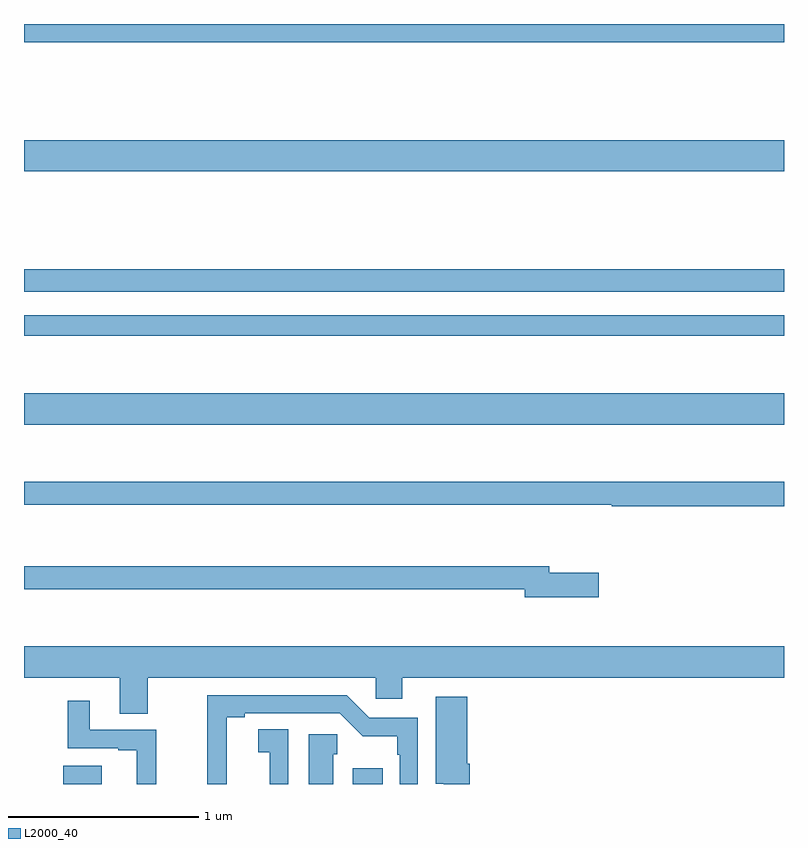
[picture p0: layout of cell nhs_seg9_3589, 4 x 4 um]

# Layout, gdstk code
import gdstk
lib = gdstk.Library(unit=1e-6, precision=1e-09)
def R(c, l, rs):  # rectangles x0, y0, x1, y1
    for r in rs: c.add(gdstk.rectangle(r[:2], r[2:], *l))
def P(c, l, *ps):  # polygons
    for p in ps: c.add(gdstk.Polygon(p, *l))
L2000_40 = (2000, 40)

nhs_seg9_3589 = lib.new_cell('nhs_seg9_3589')
R(nhs_seg9_3589, L2000_40, [(315.206,1222.5,315.409,1222.597), (316.73,1222.5,316.888,1222.582), (315,1224.392,319,1224.556), (315,1224.858,319,1224.966), (315,1225.092,319,1225.208), (315,1225.724,319,1225.888), (315,1226.404,319,1226.5)])
P(nhs_seg9_3589, L2000_40, [(319,1224.091),(315,1224.091),(315,1223.97),(318.094,1223.97),(318.094,1223.962),(319,1223.962)],
  [(318.025,1223.613),(317.764,1223.613),(317.764,1223.647),(315,1223.647),(315,1223.526),(317.636,1223.526),(317.636,1223.483),(318.025,1223.483)],
  [(315.651,1223.06),(316.851,1223.06),(316.851,1222.95),(316.99,1222.95),(316.99,1223.06),(319,1223.06),(319,1223.224),(315,1223.224),(315,1223.06),(315.503,1223.06),(315.503,1222.87),(315.651,1222.87)],
  [(316.068,1222.569),(316.066,1222.569),(316.066,1222.852),(316.162,1222.852),(316.162,1222.872),(316.662,1222.872),(316.783,1222.751),(316.965,1222.751),(316.965,1222.655),(316.977,1222.655),(316.977,1222.5),(317.073,1222.5),(317.073,1222.848),(316.818,1222.848),(316.698,1222.968),(315.964,1222.968),(315.964,1222.5),(316.068,1222.5)],
  [(317.345,1222.606),(317.332,1222.606),(317.332,1222.96),(317.168,1222.96),(317.168,1222.502),(317.21,1222.502),(317.21,1222.5),(317.345,1222.5)],
  [(315.695,1222.785),(315.346,1222.785),(315.346,1222.939),(315.229,1222.939),(315.229,1222.689),(315.497,1222.689),(315.497,1222.677),(315.593,1222.677),(315.593,1222.5),(315.695,1222.5)],
  [(316.392,1222.787),(316.233,1222.787),(316.233,1222.667),(316.294,1222.667),(316.294,1222.5),(316.392,1222.5)],
  [(316.627,1222.656),(316.649,1222.656),(316.649,1222.762),(316.499,1222.762),(316.499,1222.5),(316.627,1222.5)])

lib.write_gds('nhs_seg9_3589.gds')
